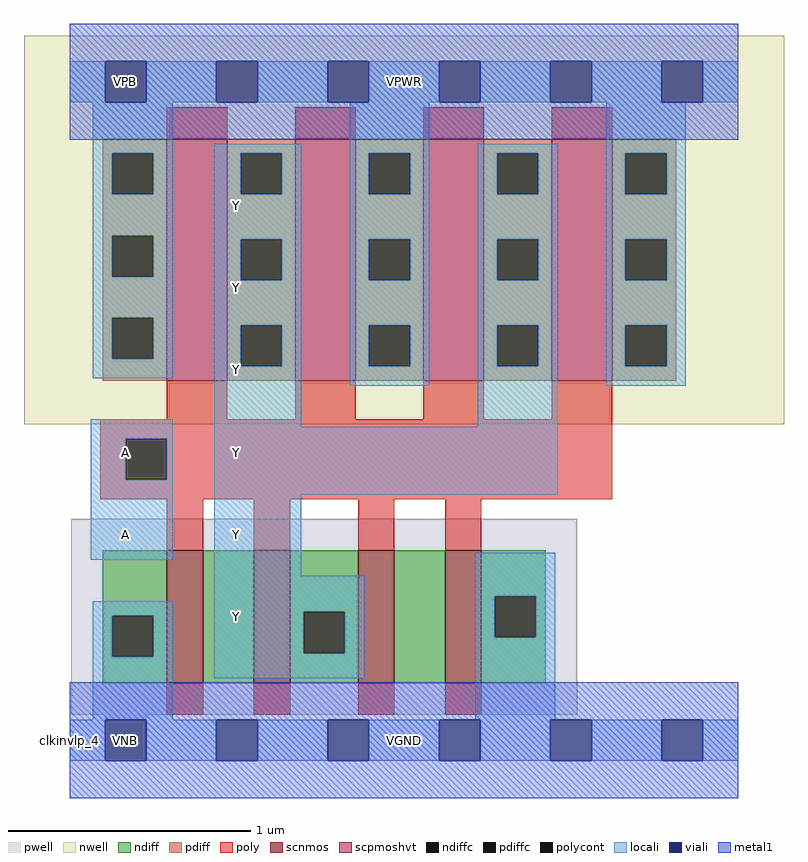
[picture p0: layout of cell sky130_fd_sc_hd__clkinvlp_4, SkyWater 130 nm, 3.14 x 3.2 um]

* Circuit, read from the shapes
.subckt sky130_fd_sc_hd__clkinvlp_4 A VGND VNB VPB VPWR Y
XM1 n1 A VGND VNB sky130_fd_pr__nfet_01v8 w=0.55 l=0.15
XM2 Y A n1 VNB sky130_fd_pr__nfet_01v8 w=0.55 l=0.15
XM3 n2 A Y VNB sky130_fd_pr__nfet_01v8 w=0.55 l=0.15
XM4 VGND A n2 VNB sky130_fd_pr__nfet_01v8 w=0.55 l=0.15
XM5 Y A VPWR VPB sky130_fd_pr__pfet_01v8_hvt w=1 l=0.25 m=4
.ends

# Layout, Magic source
magic
tech sky130B
magscale 1 2
<< nwell >>
rect -38 261 590 582
<< pwell >>
rect 1 21 419 183
rect 29 -17 63 21
<< scnmos >>
rect 80 47 110 157
rect 152 47 182 157
rect 238 47 268 157
rect 310 47 340 157
<< scpmoshvt >>
rect 80 297 130 497
rect 186 297 236 497
rect 292 297 342 497
rect 398 297 448 497
<< ndiff >>
rect 27 103 80 157
rect 27 69 35 103
rect 69 69 80 103
rect 27 47 80 69
rect 110 47 152 157
rect 182 106 238 157
rect 182 72 193 106
rect 227 72 238 106
rect 182 47 238 72
rect 268 47 310 157
rect 340 119 393 157
rect 340 85 351 119
rect 385 85 393 119
rect 340 47 393 85
<< pdiff >>
rect 27 485 80 497
rect 27 451 35 485
rect 69 451 80 485
rect 27 417 80 451
rect 27 383 35 417
rect 69 383 80 417
rect 27 349 80 383
rect 27 315 35 349
rect 69 315 80 349
rect 27 297 80 315
rect 130 485 186 497
rect 130 451 141 485
rect 175 451 186 485
rect 130 414 186 451
rect 130 380 141 414
rect 175 380 186 414
rect 130 343 186 380
rect 130 309 141 343
rect 175 309 186 343
rect 130 297 186 309
rect 236 485 292 497
rect 236 451 247 485
rect 281 451 292 485
rect 236 414 292 451
rect 236 380 247 414
rect 281 380 292 414
rect 236 343 292 380
rect 236 309 247 343
rect 281 309 292 343
rect 236 297 292 309
rect 342 485 398 497
rect 342 451 353 485
rect 387 451 398 485
rect 342 414 398 451
rect 342 380 353 414
rect 387 380 398 414
rect 342 343 398 380
rect 342 309 353 343
rect 387 309 398 343
rect 342 297 398 309
rect 448 485 501 497
rect 448 451 459 485
rect 493 451 501 485
rect 448 414 501 451
rect 448 380 459 414
rect 493 380 501 414
rect 448 343 501 380
rect 448 309 459 343
rect 493 309 501 343
rect 448 297 501 309
<< ndiffc >>
rect 35 69 69 103
rect 193 72 227 106
rect 351 85 385 119
<< pdiffc >>
rect 35 451 69 485
rect 35 383 69 417
rect 35 315 69 349
rect 141 451 175 485
rect 141 380 175 414
rect 141 309 175 343
rect 247 451 281 485
rect 247 380 281 414
rect 247 309 281 343
rect 353 451 387 485
rect 353 380 387 414
rect 353 309 387 343
rect 459 451 493 485
rect 459 380 493 414
rect 459 309 493 343
<< poly >>
rect 80 497 130 523
rect 186 497 236 523
rect 292 497 342 523
rect 398 497 448 523
rect 80 265 130 297
rect 186 265 236 297
rect 292 265 342 297
rect 398 265 448 297
rect 25 249 448 265
rect 25 215 46 249
rect 80 215 448 249
rect 25 199 448 215
rect 80 157 110 199
rect 152 157 182 199
rect 238 157 268 199
rect 310 157 340 199
rect 80 21 110 47
rect 152 21 182 47
rect 238 21 268 47
rect 310 21 340 47
<< polycont >>
rect 46 215 80 249
<< locali >>
rect 0 527 29 561
rect 63 527 121 561
rect 155 527 213 561
rect 247 527 305 561
rect 339 527 397 561
rect 431 527 489 561
rect 523 527 552 561
rect 19 485 85 527
rect 19 451 35 485
rect 69 451 85 485
rect 19 417 85 451
rect 19 383 35 417
rect 69 383 85 417
rect 19 349 85 383
rect 19 315 35 349
rect 69 315 85 349
rect 19 299 85 315
rect 119 485 191 493
rect 119 451 141 485
rect 175 451 191 485
rect 119 414 191 451
rect 119 380 141 414
rect 175 380 191 414
rect 119 343 191 380
rect 119 309 141 343
rect 175 309 191 343
rect 17 249 85 265
rect 17 215 46 249
rect 80 215 85 249
rect 17 149 85 215
rect 119 259 191 309
rect 231 485 297 527
rect 231 451 247 485
rect 281 451 297 485
rect 231 414 297 451
rect 231 380 247 414
rect 281 380 297 414
rect 231 343 297 380
rect 231 309 247 343
rect 281 309 297 343
rect 231 293 297 309
rect 337 485 403 493
rect 337 451 353 485
rect 387 451 403 485
rect 337 414 403 451
rect 337 380 353 414
rect 387 380 403 414
rect 337 343 403 380
rect 337 309 353 343
rect 387 309 403 343
rect 337 259 403 309
rect 443 485 509 527
rect 443 451 459 485
rect 493 451 509 485
rect 443 414 509 451
rect 443 380 459 414
rect 493 380 509 414
rect 443 343 509 380
rect 443 309 459 343
rect 493 309 509 343
rect 443 293 509 309
rect 119 203 403 259
rect 119 136 191 203
rect 19 103 85 115
rect 19 69 35 103
rect 69 69 85 103
rect 19 17 85 69
rect 119 106 243 136
rect 119 72 193 106
rect 227 72 243 106
rect 119 51 243 72
rect 335 119 401 155
rect 335 85 351 119
rect 385 85 401 119
rect 335 17 401 85
rect 0 -17 29 17
rect 63 -17 121 17
rect 155 -17 213 17
rect 247 -17 305 17
rect 339 -17 397 17
rect 431 -17 489 17
rect 523 -17 552 17
<< viali >>
rect 29 527 63 561
rect 121 527 155 561
rect 213 527 247 561
rect 305 527 339 561
rect 397 527 431 561
rect 489 527 523 561
rect 29 -17 63 17
rect 121 -17 155 17
rect 213 -17 247 17
rect 305 -17 339 17
rect 397 -17 431 17
rect 489 -17 523 17
<< metal1 >>
rect 0 561 552 592
rect 0 527 29 561
rect 63 527 121 561
rect 155 527 213 561
rect 247 527 305 561
rect 339 527 397 561
rect 431 527 489 561
rect 523 527 552 561
rect 0 496 552 527
rect 0 17 552 48
rect 0 -17 29 17
rect 63 -17 121 17
rect 155 -17 213 17
rect 247 -17 305 17
rect 339 -17 397 17
rect 431 -17 489 17
rect 523 -17 552 17
rect 0 -48 552 -17
<< labels >>
flabel locali s 29 221 63 255 0 FreeSans 400 0 0 0 A
port 1 nsew signal input
flabel locali s 121 85 155 119 0 FreeSans 400 0 0 0 Y
port 6 nsew signal output
flabel locali s 121 153 155 187 0 FreeSans 400 0 0 0 Y
port 6 nsew signal output
flabel locali s 121 221 155 255 0 FreeSans 400 0 0 0 Y
port 6 nsew signal output
flabel locali s 121 289 155 323 0 FreeSans 400 0 0 0 Y
port 6 nsew signal output
flabel locali s 121 357 155 391 0 FreeSans 400 0 0 0 Y
port 6 nsew signal output
flabel locali s 121 425 155 459 0 FreeSans 400 0 0 0 Y
port 6 nsew signal output
flabel locali s 29 153 63 187 0 FreeSans 400 0 0 0 A
port 1 nsew signal input
flabel pwell s 29 -17 63 17 0 FreeSans 200 0 0 0 VNB
port 3 nsew ground bidirectional
flabel nwell s 29 527 63 561 0 FreeSans 200 0 0 0 VPB
port 4 nsew power bidirectional
flabel metal1 s 29 527 63 561 0 FreeSans 200 0 0 0 VPWR
port 5 nsew power bidirectional abutment
flabel metal1 s 29 -17 63 17 0 FreeSans 200 0 0 0 VGND
port 2 nsew ground bidirectional abutment
rlabel comment s 0 0 0 0 4 clkinvlp_4
rlabel metal1 s 0 -48 552 48 1 VGND
port 2 nsew ground bidirectional abutment
rlabel metal1 s 0 496 552 592 1 VPWR
port 5 nsew power bidirectional abutment
<< properties >>
string FIXED_BBOX 0 0 552 544
string GDS_END 3336206
string GDS_FILE $PDKPATH/libs.ref/sky130_fd_sc_hd/gds/sky130_fd_sc_hd.gds
string GDS_START 3331166
string LEFclass CORE
string LEFsite unithd
string LEFsymmetry X Y R90
string path 0.000 0.000 13.800 0.000 
<< end >>
